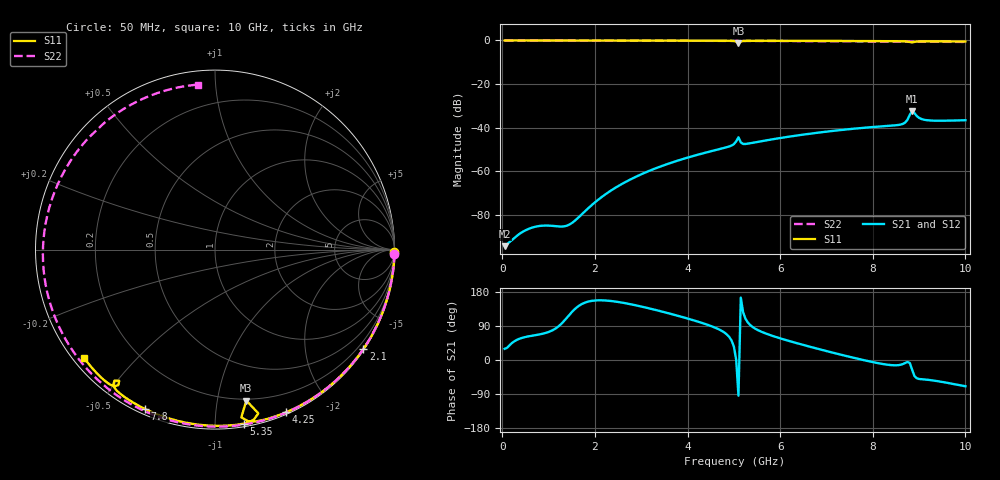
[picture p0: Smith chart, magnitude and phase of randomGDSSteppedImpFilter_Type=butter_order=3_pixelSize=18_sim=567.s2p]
! freq	dB(S11)	phase(S11)	dB(S12)	phase(S12)
!  dB(S21)	phase(S21)	dB(S22)	phase(S22)
!S-par simulation data
#  GHz  S  DB  R 50
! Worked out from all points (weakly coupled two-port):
!   200 points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, 50 MHz to 10 GHz, reference 50 ohm
!   highest |S21| = -32.42 dB at 8.85 GHz (marker M1); lowest = -94.3 dB at 50 MHz (marker M2)
!   lowest |S11| = -1.3 dB at 5.1 GHz (marker M3), VSWR 13.21, Z = 9.42 - j60.6 ohm
!   |S11| at or under -10 dB: nowhere
!   |S22| runs from -0.7 to 0.0 dB; largest |S21 - S12| = 0
!   S11 on the Smith chart (normalised r, x): 50 MHz: open; 2.1 GHz: 0.03, -3.29; 4.25 GHz: 0.02, -1.53; 5.35 GHz: 0.02, -1.18; 7.8 GHz: 0.02, -0.65; 10 GHz: 0.03, -0.36
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0.05  -0.00 -0.8  -94.31 29.5  -94.31 29.5  -0.00 -1.4
0.85  -0.02 -13.9  -84.94 68.7  -84.94 68.7  -0.03 -23.2
1.7  -0.03 -27.5  -80.05 146.5  -80.05 146.5  -0.06 -45.7
1.75  -0.04 -28.3  -79.03 149.6  -79.03 149.6  -0.06 -47.0
2.1  -0.04 -33.8  -72.53 157.6  -72.53 157.6  -0.07 -56.1
2.7  -0.06 -43.1  -64.44 148.9  -64.44 148.9  -0.09 -71.3
3.4  -0.07 -53.7  -57.91 129.3  -57.91 129.3  -0.12 -88.6
4.25  -0.09 -66.4  -52.22 100.3  -52.22 100.3  -0.15 -108.9
4.9  -0.14 -76.6  -48.59 60.9  -48.59 60.9  -0.19 -124.2
5.05  -0.48 -81.1  -46.29 1.2  -46.29 1.2  -0.20 -127.7
5.1  -1.32 -78.3  -44.42 -94.2  -44.42 -94.2  -0.20 -128.8
5.15  -0.50 -75.2  -46.72 164.6  -46.72 164.6  -0.20 -130.0
5.2  -0.25 -77.1  -47.44 126.3  -47.44 126.3  -0.20 -131.2
5.35  -0.15 -80.5  -47.13 92.6  -47.13 92.6  -0.21 -134.7
6.7  -0.19 -99.5  -42.59 33.2  -42.59 33.2  -0.32 -167.0
7.8  -0.27 -113.7  -40.04 -0.2  -40.04 -0.2  -0.43 164.6
8.35  -0.32 -120.8  -39.14 -12.9  -39.14 -12.9  -0.49 149.1
8.7  -0.43 -126.0  -37.62 -7.8  -37.62 -7.8  -0.54 138.7
8.85  -0.87 -126.1  -32.42 -25.7  -32.42 -25.7  -0.57 134.2
9  -0.45 -127.2  -35.49 -50.0  -35.49 -50.0  -0.57 129.5
9.15  -0.41 -129.5  -36.51 -51.7  -36.51 -51.7  -0.58 124.6
10  -0.48 -140.5  -36.57 -69.3  -36.57 -69.3  -0.69 95.8
